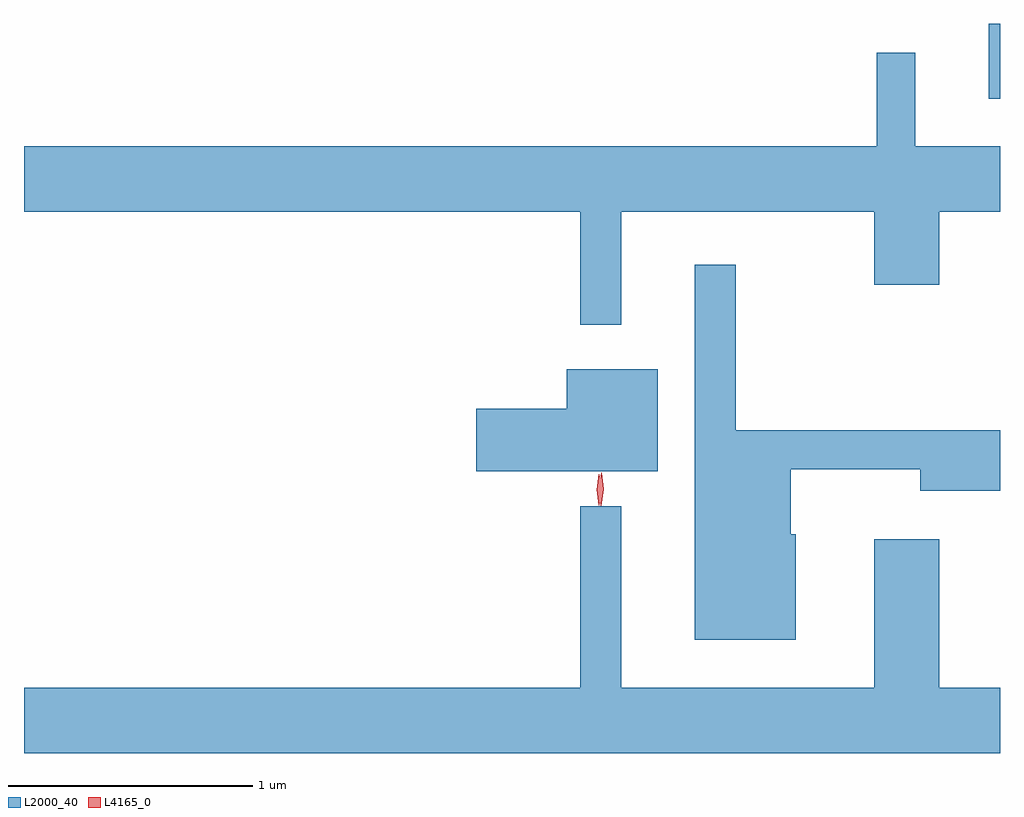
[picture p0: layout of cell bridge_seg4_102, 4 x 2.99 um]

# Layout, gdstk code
import gdstk
lib = gdstk.Library(unit=1e-6, precision=1e-09)
def R(c, l, rs):  # rectangles x0, y0, x1, y1
    for r in rs: c.add(gdstk.rectangle(r[:2], r[2:], *l))
def P(c, l, *ps):  # polygons
    for p in ps: c.add(gdstk.Polygon(p, *l))
L2000_40 = (2000, 40)
L4165_0 = (4165, 0)

bridge_seg4_102 = lib.new_cell('bridge_seg4_102')
R(bridge_seg4_102, L2000_40, [(794.966,1366.238,795.012,1366.546)])
P(bridge_seg4_102, L2000_40, [(793.459,1365.776),(794.496,1365.776),(794.496,1365.476),(794.764,1365.476),(794.764,1365.776),(795.012,1365.776),(795.012,1366.044),(794.664,1366.044),(794.664,1366.428),(794.506,1366.428),(794.506,1366.044),(791.012,1366.044),(791.012,1365.776),(793.291,1365.776),(793.291,1365.313),(793.459,1365.313)],
  [(794.174,1364.454),(794.154,1364.454),(794.154,1364.721),(794.686,1364.721),(794.686,1364.631),(795.012,1364.631),(795.012,1364.879),(793.929,1364.879),(793.929,1365.558),(793.761,1365.558),(793.761,1364.021),(794.174,1364.021)],
  [(793.609,1365.129),(793.236,1365.129),(793.236,1364.969),(792.866,1364.969),(792.866,1364.711),(793.609,1364.711)],
  [(795.012,1363.824),(794.764,1363.824),(794.764,1364.434),(794.496,1364.434),(794.496,1363.824),(793.459,1363.824),(793.459,1364.568),(793.291,1364.568),(793.291,1363.824),(791.012,1363.824),(791.012,1363.556),(795.012,1363.556)])
P(bridge_seg4_102, L4165_0, [(793.376,1364.57),(793.368,1364.638),(793.378,1364.705),(793.378,1364.706),(793.379,1364.705),(793.388,1364.638),(793.377,1364.57),(793.377,1364.57)],
  [(793.368,1364.573),(793.359,1364.636),(793.368,1364.699),(793.368,1364.7),(793.369,1364.699),(793.379,1364.636),(793.369,1364.573),(793.369,1364.573)])

lib.write_gds('bridge_seg4_102.gds')
